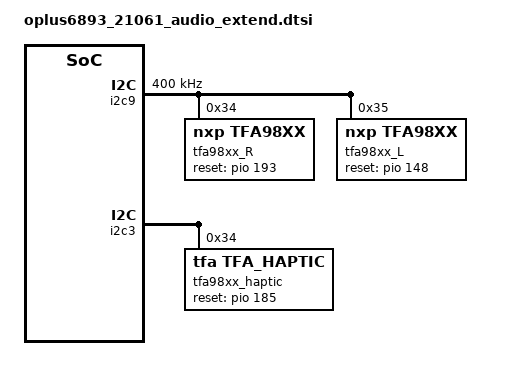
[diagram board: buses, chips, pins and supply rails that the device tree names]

&audio_extend {
	//for nxp speaker
	oplus,speaker-vendor = "nxp";
	oplus,speaker-i2s-id = <3>;
	oplus,speaker-i2s-id-in = <0>;
	oplus,speaker-codec-name = "tfa98xx.9-0034","tfa98xx.9-0035";
	oplus,speaker-codec-dai-name = "tfa98xx-aif-9-34","tfa98xx-aif-9-35";
};

&i2c9 {
	status = "okay";
	clock-frequency = <400000>;
	tfa98xx_R: tfa98xx@34 {
		compatible = "nxp,tfa98xx";
		reg = <0x34>;
		reset-gpio = <&pio 193 0>;
		tfa_min_range = <5000>;
		tfa_max_range = <8000>;
		status = "okay";
	};

	tfa98xx_L: tfa98xx@35 {
		compatible = "nxp,tfa98xx";
		reg = <0x35>;
		reset-gpio = <&pio 148 0>;
		tfa_min_range = <5000>;
		tfa_max_range = <8000>;
		status = "okay";
	};
};

//#ifdef OPLUS_ARCH_EXTENDS
&i2c3 {
	tfa98xx_haptic: tfa98xx_haptic@34 {
		compatible = "tfa,tfa_haptic";
		reg = <0x34>;
		reset-gpio = <&pio 185 0>;
		i2s-id = <1>;
		status = "okay";
	};
};
//#endif

&sound {
	mtk_spk_i2s_in = <9>;
};
//#endif /*OPLUS_ARCH_EXTENDS*/
